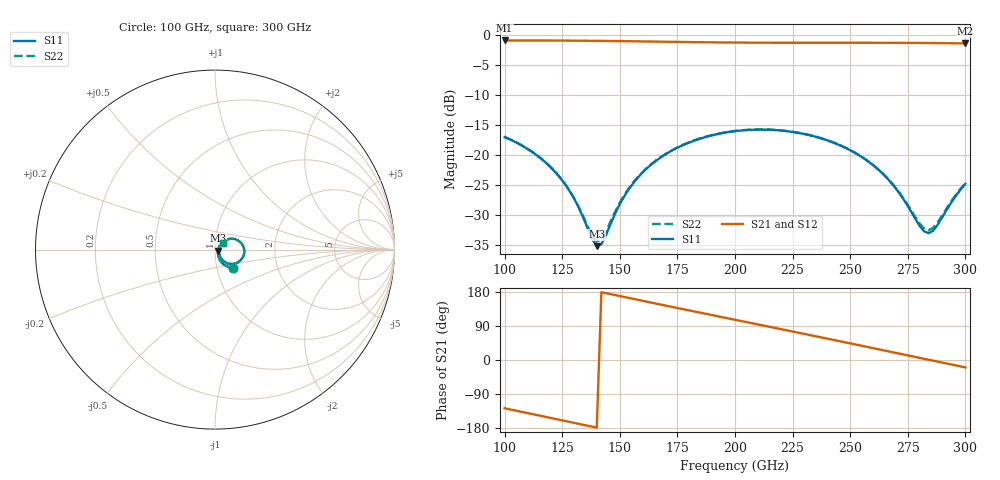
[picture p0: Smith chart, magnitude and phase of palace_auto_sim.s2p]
#  GHZ S DB R 50
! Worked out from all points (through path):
!   101 points, 100 GHz to 300 GHz, reference 50 ohm
!   highest |S21| = -0.88 dB at 100 GHz (marker M1); lowest = -1.4 dB at 300 GHz (marker M2)
!   group delay of S21, straight-line fit = 3.49 ps
!   lowest |S11| = -35.2 dB at 140 GHz (marker M3), VSWR 1.04, Z = 51.7 - j0.522 ohm
!   |S11| at or under -10 dB: start of sweep to end of sweep
!   |S22| runs from -34.4 to -15.7 dB; largest |S21 - S12| = 1e-13
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100  -16.97 -45.7  -0.88 -127.4  -0.88 -127.4  -16.97 -45.3
110  -18.96 -55.3  -0.88 -140.1  -0.88 -140.1  -18.96 -54.8
120  -22.00 -63.1  -0.89 -152.9  -0.89 -152.9  -22.00 -62.2
128  -25.84 -65.3  -0.91 -163.1  -0.91 -163.1  -25.79 -63.7
134  -30.28 -57.7  -0.92 -170.8  -0.92 -170.8  -30.08 -55.0
138  -33.99 -36.7  -0.94 -175.9  -0.94 -175.9  -33.43 -33.9
140  -35.16 -16.8  -0.94 -178.5  -0.94 -178.5  -34.37 -15.3
142  -34.85 5.5  -0.95 179.0  -0.95 179.0  -34.05 4.8
150  -28.15 43.0  -0.99 168.8  -0.99 168.8  -27.90 40.7
154  -25.62 45.3  -1.01 163.7  -1.01 163.7  -25.46 43.4
160  -22.84 43.7  -1.04 156.1  -1.04 156.1  -22.75 42.2
168  -20.31 38.1  -1.08 146.0  -1.08 146.0  -20.24 36.9
184  -17.34 23.1  -1.16 126.0  -1.16 126.0  -17.30 22.1
200  -15.99 6.4  -1.23 106.1  -1.23 106.1  -15.96 5.6
216  -15.78 -10.8  -1.26 86.3  -1.26 86.3  -15.75 -11.5
234  -16.82 -29.8  -1.26 63.9  -1.26 63.9  -16.80 -30.3
254  -20.05 -48.6  -1.26 38.8  -1.26 38.8  -20.02 -48.9
268  -24.69 -55.3  -1.27 21.0  -1.27 21.0  -24.62 -55.1
280  -31.69 -32.6  -1.29 5.8  -1.29 5.8  -31.34 -31.9
284  -33.01 -5.5  -1.30 0.7  -1.30 0.7  -32.51 -6.1
288  -31.57 20.9  -1.32 -4.4  -1.32 -4.4  -31.18 18.8
300  -24.78 42.2  -1.36 -19.5  -1.36 -19.5  -24.66 40.1
